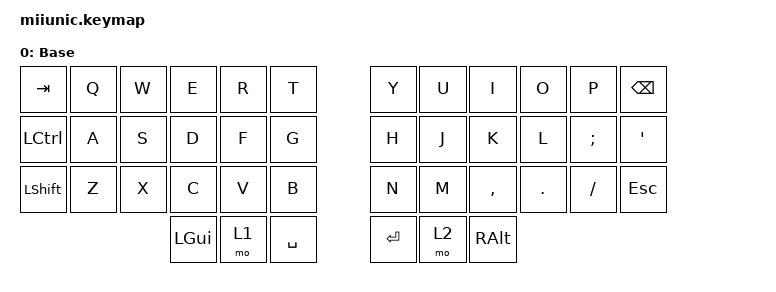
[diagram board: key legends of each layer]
#include <behaviors.dtsi>
#include <dt-bindings/zmk/keys.h>

/ {
    keymap {
        compatible = "zmk,keymap";

        default_layer {
            display-name = "Base";
            bindings = <
   &kp TAB   &kp Q &kp W &kp E &kp R &kp T   &kp Y &kp U  &kp I     &kp O   &kp P    &kp BSPC
   &kp LCTRL &kp A &kp S &kp D &kp F &kp G   &kp H &kp J  &kp K     &kp L   &kp SEMI &kp SQT
   &kp LSHFT &kp Z &kp X &kp C &kp V &kp B   &kp N &kp M  &kp COMMA &kp DOT &kp FSLH &kp ESC
                  &kp LGUI &mo 1 &kp SPACE   &kp RET &mo 2 &kp RALT
            >;
        };

    };
};
